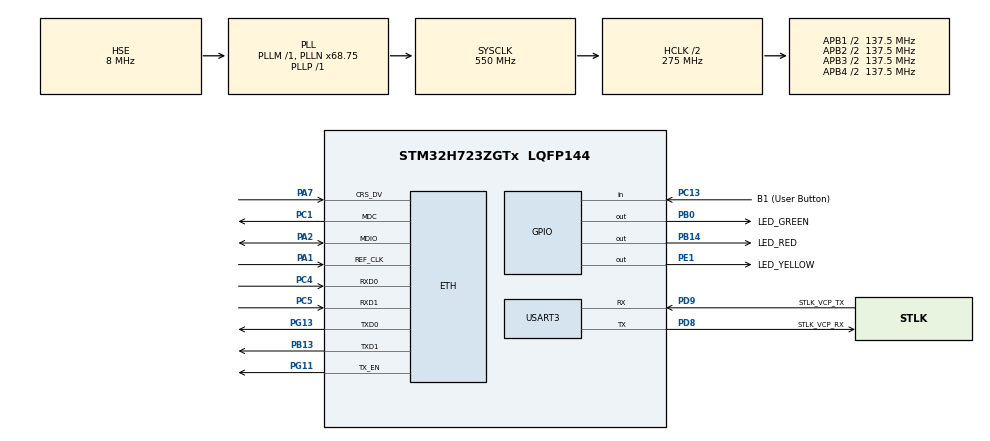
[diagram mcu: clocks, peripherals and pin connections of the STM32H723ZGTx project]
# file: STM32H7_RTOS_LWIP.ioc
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CORTEX_M7.AccessPermission_S-Cortex_Memory_Protection_Unit_Region1_Settings_S=MPU_REGION_FULL_ACCESS
CORTEX_M7.AccessPermission_S-Cortex_Memory_Protection_Unit_Region2_Settings_S=MPU_REGION_FULL_ACCESS
CORTEX_M7.BaseAddress_S-Cortex_Memory_Protection_Unit_Region1_Settings_S=0x30000000
CORTEX_M7.BaseAddress_S-Cortex_Memory_Protection_Unit_Region2_Settings_S=0x30000000 
CORTEX_M7.CPU_DCache=Enabled
CORTEX_M7.CPU_ICache=Enabled
CORTEX_M7.DisableExec_S-Cortex_Memory_Protection_Unit_Region1_Settings_S=MPU_INSTRUCTION_ACCESS_DISABLE
CORTEX_M7.DisableExec_S-Cortex_Memory_Protection_Unit_Region2_Settings_S=MPU_INSTRUCTION_ACCESS_DISABLE
CORTEX_M7.Enable_S-Cortex_Memory_Protection_Unit_Region1_Settings_S=MPU_REGION_ENABLE
CORTEX_M7.Enable_S-Cortex_Memory_Protection_Unit_Region2_Settings_S=MPU_REGION_ENABLE
CORTEX_M7.IsBufferable_S-Cortex_Memory_Protection_Unit_Region1_Settings_S=MPU_ACCESS_NOT_BUFFERABLE
CORTEX_M7.IsBufferable_S-Cortex_Memory_Protection_Unit_Region2_Settings_S=MPU_ACCESS_BUFFERABLE
CORTEX_M7.IsShareable_S-Cortex_Memory_Protection_Unit_Region1_Settings_S=MPU_ACCESS_NOT_SHAREABLE
CORTEX_M7.IsShareable_S-Cortex_Memory_Protection_Unit_Region2_Settings_S=MPU_ACCESS_SHAREABLE
CORTEX_M7.Size_S-Cortex_Memory_Protection_Unit_Region1_Settings_S=MPU_REGION_SIZE_32KB
CORTEX_M7.Size_S-Cortex_Memory_Protection_Unit_Region2_Settings_S=MPU_REGION_SIZE_512B
CORTEX_M7.TypeExtField_S-Cortex_Memory_Protection_Unit_Region1_Settings_S=MPU_TEX_LEVEL1
CORTEX_M7.TypeExtField_S-Cortex_Memory_Protection_Unit_Region2_Settings_S=MPU_TEX_LEVEL1
CORTEX_M7.default_mode_Activation=1
ETH.MediaInterface=HAL_ETH_RMII_MODE
ETH.RxBufferAddress=0x30000200
ETH.TxDescAddress=0x30000100
FREERTOS.Tasks01=defaultTask,24,512,StartDefaultTask,Default,NULL,Dynamic,NULL,NULL
FREERTOS.configCHECK_FOR_STACK_OVERFLOW=1
FREERTOS.configMINIMAL_STACK_SIZE=512
FREERTOS.configTOTAL_HEAP_SIZE=32768
FREERTOS.configUSE_NEWLIB_REENTRANT=1
LWIP.BSP.number=1
LWIP.DEFAULT_THREAD_STACKSIZE=2048
LWIP.ETH_RX_BUFFER_CNT=12
LWIP.LWIP_NETCONN=1
LWIP.LWIP_RAM_HEAP_POINTER=0x30000200
LWIP.LWIP_TCP_KEEPALIVE=1
LWIP.MEMP_NUM_LOCALHOSTLIST=0
LWIP.MEMP_NUM_NETBUF=4
LWIP.MEMP_NUM_PBUF=24
LWIP.MEMP_NUM_TCP_PCB_LISTEN=4
LWIP.MEMP_NUM_TCP_SEG=32
LWIP.MEM_SIZE=32232 
LWIP.PBUF_LINK_HLEN=16
LWIP.PBUF_POOL_BUFSIZE=1536
LWIP.PBUF_POOL_SIZE=16
LWIP.SO_REUSE=1
LWIP.TCPIP_THREAD_PRIO=32
LWIP.TCPIP_THREAD_STACKSIZE=2048
LWIP.TCP_LISTEN_BACKLOG=1
LWIP.TCP_MSS=1460
LWIP.TCP_SND_BUF=5840
LWIP.TCP_SND_QUEUELEN=16
LWIP.TCP_WND=5840
LWIP.Version=v2.1.2_Cube
LWIP0.BSP.STBoard=false
LWIP0.BSP.api=BSP_COMPONENT_DRIVER
LWIP0.BSP.component=LAN8742
LWIP0.BSP.instance=LAN8742
LWIP0.BSP.name=Driver_PHY
LWIP0.BSP.semaphore=S_LAN8742
LWIP0.BSP.solution=LAN8742
Mcu.Family=STM32H7
Mcu.Name=STM32H723ZGTx
Mcu.Package=LQFP144
NVIC.ETH_IRQn=true\:5\:0\:false\:false\:true\:true\:true\:true\:true
NVIC.PriorityGroup=NVIC_PRIORITYGROUP_4
NVIC.TIM6_DAC_IRQn=true\:15\:0\:false\:false\:true\:false\:false\:true\:true
NVIC.TimeBase=TIM6_DAC_IRQn
NVIC.TimeBaseIP=TIM6
PA1.GPIO_Speed=GPIO_SPEED_FREQ_VERY_HIGH
PA1.Mode=RMII
PA1.Signal=ETH_REF_CLK
PA13(JTMS/SWDIO).GPIO_Label=SWDIO
PA13(JTMS/SWDIO).Mode=Trace_Asynchronous_SW
PA13(JTMS/SWDIO).Signal=DEBUG_JTMS-SWDIO
PA14(JTCK/SWCLK).GPIO_Label=SWCLK
PA14(JTCK/SWCLK).Mode=Trace_Asynchronous_SW
PA14(JTCK/SWCLK).Signal=DEBUG_JTCK-SWCLK
PA2.GPIO_Speed=GPIO_SPEED_FREQ_VERY_HIGH
PA2.Mode=RMII
PA2.Signal=ETH_MDIO
PA7.GPIO_Speed=GPIO_SPEED_FREQ_VERY_HIGH
PA7.Mode=RMII
PA7.Signal=ETH_CRS_DV
PB0.GPIO_Label=LED_GREEN
PB0.Signal=GPIO_Output
PB13.GPIO_Speed=GPIO_SPEED_FREQ_VERY_HIGH
PB13.Mode=RMII
PB13.Signal=ETH_TXD1
PB14.GPIO_Label=LED_RED
PB14.Signal=GPIO_Output
PB3(JTDO/TRACESWO).Mode=Trace_Asynchronous_SW
PB3(JTDO/TRACESWO).Signal=DEBUG_JTDO-SWO
PC1.GPIO_Speed=GPIO_SPEED_FREQ_VERY_HIGH
PC1.Mode=RMII
PC1.Signal=ETH_MDC
PC13.GPIO_Label=B1 (User Button)
PC13.Signal=GPIO_Input
PC14-OSC32_IN.Mode=LSE-External-Oscillator
PC14-OSC32_IN.Signal=RCC_OSC32_IN
PC15-OSC32_OUT.Mode=LSE-External-Oscillator
PC15-OSC32_OUT.Signal=RCC_OSC32_OUT
PC4.GPIO_Speed=GPIO_SPEED_FREQ_VERY_HIGH
PC4.Mode=RMII
PC4.Signal=ETH_RXD0
PC5.GPIO_Speed=GPIO_SPEED_FREQ_VERY_HIGH
PC5.Mode=RMII
PC5.Signal=ETH_RXD1
PD8.GPIO_Label=STLK_VCP_RX
PD8.Mode=Asynchronous
PD8.Signal=USART3_TX
PD9.GPIO_Label=STLK_VCP_TX
PD9.Mode=Asynchronous
PD9.Signal=USART3_RX
PE1.GPIO_Label=LED_YELLOW
PE1.Signal=GPIO_Output
PG11.GPIO_Speed=GPIO_SPEED_FREQ_VERY_HIGH
PG11.Mode=RMII
PG11.Signal=ETH_TX_EN
PG13.GPIO_Speed=GPIO_SPEED_FREQ_VERY_HIGH
PG13.Mode=RMII
PG13.Signal=ETH_TXD0
PH0-OSC_IN.Mode=HSE-External-Clock-Source
PH0-OSC_IN.Signal=RCC_OSC_IN
ProjectManager.HeapSize=0x200
ProjectManager.StackSize=0x1000
ProjectManager.TargetToolchain=STM32CubeIDE
RCC.ADCFreq_Value=76000000
RCC.APB1Freq_Value=137500000
RCC.APB2Freq_Value=137500000
RCC.APB3Freq_Value=137500000
RCC.APB4Freq_Value=137500000
RCC.CortexFreq_Value=550000000
RCC.D1PPRE=RCC_APB3_DIV2
RCC.D2PPRE1=RCC_APB1_DIV2
RCC.D2PPRE2=RCC_APB2_DIV2
RCC.D3PPRE=RCC_APB4_DIV2
RCC.DIVM1=1
RCC.DIVM2=1
RCC.DIVN1=68
RCC.DIVN2=19
RCC.DIVP1=1
RCC.DIVQ1=4
RCC.HCLKFreq_Value=275000000
RCC.HPRE=RCC_HCLK_DIV2
RCC.HSE_VALUE=8000000
RCC.PLLFRACN=6144
RCC.PLLSourceVirtual=RCC_PLLSOURCE_HSE
RCC.SYSCLKFreq_VALUE=550000000
RCC.SYSCLKSource=RCC_SYSCLKSOURCE_PLLCLK
RCC.USBCLockSelection=RCC_USBCLKSOURCE_HSI48
RCC.USBFreq_Value=48000000
USART3.VirtualMode-Asynchronous=VM_ASYNC
VP_FREERTOS_VS_CMSIS_V2.Mode=CMSIS_V2
VP_LWIP_VS_Enabled.Mode=Enabled
VP_MEMORYMAP_VS_MEMORYMAP.Mode=CurAppReg
VP_SYS_VS_tim6.Mode=TIM6
board=NUCLEO-H723ZG

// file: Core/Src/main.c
/* USER CODE BEGIN Header */
/**
  ******************************************************************************
  * @file           : main.c
  * @brief          : Main program body
  ******************************************************************************
  * @attention
  *
  * Copyright (c) 2025 STMicroelectronics.
  * All rights reserved.
  *
  * This software is licensed under terms that can be found in the LICENSE file
  * in the root directory of this software component.
  * If no LICENSE file comes with this software, it is provided AS-IS.
  *
  ******************************************************************************
  */
/* USER CODE END Header */
#include "main.h"
#include "cmsis_os.h"
#include "lwip.h"
#include "usart.h"
#include "gpio.h"

void SystemClock_Config(void);
static void MPU_Config(void);
void MX_FREERTOS_Init(void);

int main(void)
{

  /* MPU Configuration--------------------------------------------------------*/
  MPU_Config();

  /* Enable the CPU Cache */

  /* Enable I-Cache---------------------------------------------------------*/
  SCB_EnableICache();

  /* Enable D-Cache---------------------------------------------------------*/
  SCB_EnableDCache();

  /* MCU Configuration--------------------------------------------------------*/

  /* Reset of all peripherals, Initializes the Flash interface and the Systick. */
  HAL_Init();

  /* Configure the system clock */
  SystemClock_Config();

  /* Initialize all configured peripherals */
  MX_GPIO_Init();
  MX_USART3_UART_Init();

  /* Init scheduler */
  osKernelInitialize();  /* Call init function for freertos objects (in cmsis_os2.c) */
  MX_FREERTOS_Init();

  /* Start scheduler */
  osKernelStart();

  /* We should never get here as control is now taken by the scheduler */

  /* Infinite loop */
  while (1)
  {

  }
}

void SystemClock_Config(void)
{
  RCC_OscInitTypeDef RCC_OscInitStruct = {0};
  RCC_ClkInitTypeDef RCC_ClkInitStruct = {0};

  /** Supply configuration update enable
  */
  HAL_PWREx_ConfigSupply(PWR_LDO_SUPPLY);

  /** Configure the main internal regulator output voltage
  */
  __HAL_PWR_VOLTAGESCALING_CONFIG(PWR_REGULATOR_VOLTAGE_SCALE0);

  while(!__HAL_PWR_GET_FLAG(PWR_FLAG_VOSRDY)) {}

  /** Initializes the RCC Oscillators according to the specified parameters
  * in the RCC_OscInitTypeDef structure.
  */
  RCC_OscInitStruct.OscillatorType = RCC_OSCILLATORTYPE_HSE;
  RCC_OscInitStruct.HSEState = RCC_HSE_BYPASS;
  RCC_OscInitStruct.PLL.PLLState = RCC_PLL_ON;
  RCC_OscInitStruct.PLL.PLLSource = RCC_PLLSOURCE_HSE;
  RCC_OscInitStruct.PLL.PLLM = 1;
  RCC_OscInitStruct.PLL.PLLN = 68;
  RCC_OscInitStruct.PLL.PLLP = 1;
  RCC_OscInitStruct.PLL.PLLQ = 4;
  RCC_OscInitStruct.PLL.PLLR = 2;
  RCC_OscInitStruct.PLL.PLLRGE = RCC_PLL1VCIRANGE_3;
  RCC_OscInitStruct.PLL.PLLVCOSEL = RCC_PLL1VCOWIDE;
  RCC_OscInitStruct.PLL.PLLFRACN = 6144;
  if (HAL_RCC_OscConfig(&RCC_OscInitStruct) != HAL_OK)
  {
    Error_Handler();
  }

  /** Initializes the CPU, AHB and APB buses clocks
  */
  RCC_ClkInitStruct.ClockType = RCC_CLOCKTYPE_HCLK|RCC_CLOCKTYPE_SYSCLK
                              |RCC_CLOCKTYPE_PCLK1|RCC_CLOCKTYPE_PCLK2
                              |RCC_CLOCKTYPE_D3PCLK1|RCC_CLOCKTYPE_D1PCLK1;
  RCC_ClkInitStruct.SYSCLKSource = RCC_SYSCLKSOURCE_PLLCLK;
  RCC_ClkInitStruct.SYSCLKDivider = RCC_SYSCLK_DIV1;
  RCC_ClkInitStruct.AHBCLKDivider = RCC_HCLK_DIV2;
  RCC_ClkInitStruct.APB3CLKDivider = RCC_APB3_DIV2;
  RCC_ClkInitStruct.APB1CLKDivider = RCC_APB1_DIV2;
  RCC_ClkInitStruct.APB2CLKDivider = RCC_APB2_DIV2;
  RCC_ClkInitStruct.APB4CLKDivider = RCC_APB4_DIV2;

  if (HAL_RCC_ClockConfig(&RCC_ClkInitStruct, FLASH_LATENCY_3) != HAL_OK)
  {
    Error_Handler();
  }
}

 /* MPU Configuration */

void MPU_Config(void)
{
  MPU_Region_InitTypeDef MPU_InitStruct = {0};

  /* Disables the MPU */
  HAL_MPU_Disable();

  /** Initializes and configures the Region and the memory to be protected
  */
  MPU_InitStruct.Enable = MPU_REGION_ENABLE;
  MPU_InitStruct.Number = MPU_REGION_NUMBER0;
  MPU_InitStruct.BaseAddress = 0x0;
  MPU_InitStruct.Size = MPU_REGION_SIZE_4GB;
  MPU_InitStruct.SubRegionDisable = 0x87;
  MPU_InitStruct.TypeExtField = MPU_TEX_LEVEL0;
  MPU_InitStruct.AccessPermission = MPU_REGION_NO_ACCESS;
  MPU_InitStruct.DisableExec = MPU_INSTRUCTION_ACCESS_DISABLE;
  MPU_InitStruct.IsShareable = MPU_ACCESS_SHAREABLE;
  MPU_InitStruct.IsCacheable = MPU_ACCESS_NOT_CACHEABLE;
  MPU_InitStruct.IsBufferable = MPU_ACCESS_NOT_BUFFERABLE;

  HAL_MPU_ConfigRegion(&MPU_InitStruct);

  /** Initializes and configures the Region and the memory to be protected
  */
  MPU_InitStruct.Number = MPU_REGION_NUMBER1;
  MPU_InitStruct.BaseAddress = 0x30000000;
  MPU_InitStruct.Size = MPU_REGION_SIZE_32KB;
  MPU_InitStruct.SubRegionDisable = 0x0;
  MPU_InitStruct.TypeExtField = MPU_TEX_LEVEL1;
  MPU_InitStruct.AccessPermission = MPU_REGION_FULL_ACCESS;
  MPU_InitStruct.IsShareable = MPU_ACCESS_NOT_SHAREABLE;

  HAL_MPU_ConfigRegion(&MPU_InitStruct);

  /** Initializes and configures the Region and the memory to be protected
  */
  MPU_InitStruct.Number = MPU_REGION_NUMBER2;
  MPU_InitStruct.BaseAddress = 0x30000000 ;
  MPU_InitStruct.Size = MPU_REGION_SIZE_512B;
  MPU_InitStruct.IsShareable = MPU_ACCESS_SHAREABLE;
  MPU_InitStruct.IsBufferable = MPU_ACCESS_BUFFERABLE;

  HAL_MPU_ConfigRegion(&MPU_InitStruct);
  /* Enables the MPU */
  HAL_MPU_Enable(MPU_PRIVILEGED_DEFAULT);

}

void HAL_TIM_PeriodElapsedCallback(TIM_HandleTypeDef *htim)
{
  if (htim->Instance == TIM6)
  {
    HAL_IncTick();
  }
}

void Error_Handler(void)
{
  __disable_irq();
  while (1)
  {
  }
}

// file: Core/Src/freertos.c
/* USER CODE BEGIN Header */
/**
 ******************************************************************************
 * File Name          : freertos.c
 * Description        : Code for freertos applications
 ******************************************************************************
 * @attention
 *
 * Copyright (c) 2025 STMicroelectronics.
 * All rights reserved.
 *
 * This software is licensed under terms that can be found in the LICENSE file
 * in the root directory of this software component.
 * If no LICENSE file comes with this software, it is provided AS-IS.
 *
 ******************************************************************************
 */
/* USER CODE END Header */

#include "FreeRTOS.h"
#include "task.h"
#include "main.h"
#include "cmsis_os.h"

/* USER CODE BEGIN Includes */
#include "lwip/sockets.h"
#include "lwip/sys.h"
#include "lwip/netdb.h"
/* USER CODE END Includes */

/* USER CODE BEGIN PD */
#define ECHO_SERVER_PORT    7
#define RECV_BUF_SIZE       1024
#define MAX_CLIENT_CONNECTIONS 3
/* USER CODE END PD */

/* Definitions for defaultTask */
osThreadId_t defaultTaskHandle;
const osThreadAttr_t defaultTask_attributes = {
  .name = "defaultTask",
  .stack_size = 512 * 4,
  .priority = (osPriority_t) osPriorityNormal,
};

/* USER CODE BEGIN FunctionPrototypes */
osThreadId_t netTaskHandle;
const osThreadAttr_t netTask_attributes =
{ .name = "netTask", .stack_size = 512 * 4, .priority = (osPriority_t) osPriorityNormal, };

void StartNetTask(void *argument)
{
  int server_sock;
  struct sockaddr_in server_addr, client_addr;
  socklen_t client_addr_len;
  char recv_buf[RECV_BUF_SIZE];
  const int on = 1;

  fd_set read_fds;
  int max_sd;
  int client_sockets[MAX_CLIENT_CONNECTIONS]; // 클라이언트 소켓 저장 배열
  int i, sd;

  // 클라이언트 소켓 배열 초기화
  for(i = 0;i < MAX_CLIENT_CONNECTIONS;i++)
  {
    client_sockets[i] = 0;
  }

  // 1. 서버 소켓 생성
  server_sock = lwip_socket(AF_INET, SOCK_STREAM, 0);
  if(server_sock < 0)
  {
    vTaskDelete(NULL);
    return;
  }

  // SO_REUSEADDR 설정
  if(lwip_setsockopt(server_sock, SOL_SOCKET, SO_REUSEADDR, &on, sizeof(on)) < 0)
  {
    lwip_close(server_sock);
    vTaskDelete(NULL);
    return;
  }

  // 2. 서버 주소 설정 및 바인딩
  memset(&server_addr, 0, sizeof(server_addr));
  server_addr.sin_family = AF_INET;
  server_addr.sin_port = lwip_htons(ECHO_SERVER_PORT);
  server_addr.sin_addr.s_addr = lwip_htonl(INADDR_ANY);

  if(lwip_bind(server_sock, (struct sockaddr*) &server_addr, sizeof(server_addr)) < 0)
  {
    lwip_close(server_sock);
    vTaskDelete(NULL);
    return;
  }

  // 3. 연결 대기 (Listen)
  if(lwip_listen(server_sock, 5) < 0)
  {
    lwip_close(server_sock);
    vTaskDelete(NULL);
    return;
  }

  // 메인 select 루프
  while(1)
  {
    FD_ZERO(&read_fds);

    FD_SET(server_sock, &read_fds);
    max_sd = server_sock;

    for(i = 0;i < MAX_CLIENT_CONNECTIONS;i++)
    {
      sd = client_sockets[i];
      if(sd > 0)
      {
        FD_SET(sd, &read_fds);
      }

      if(sd > max_sd)
      {
        max_sd = sd;
      }
    }

    // select 호출: 이벤트 발생 대기 (NULL, NULL)은 타임아웃 없음.
    int activity = lwip_select(max_sd + 1, &read_fds, NULL, NULL, NULL);

    if((activity < 0) && (errno != EINTR))
    {
      // printf("select error: %d\r\n", errno);
      vTaskDelay(pdMS_TO_TICKS(100)); // 짧은 딜레이 후 재시도
      continue;
    }

    // 4. 서버 소켓에 새로운 연결 요청이 왔는지 확인
    if(FD_ISSET(server_sock, &read_fds))
    {
      client_addr_len = sizeof(client_addr);
      int new_sock = lwip_accept(server_sock, (struct sockaddr*) &client_addr, &client_addr_len);
      if(new_sock < 0)
      {
        // printf("accept error: %d\r\n", new_sock);
      }
      else
      {
        // 새 클라이언트 연결 수락
        // printf("New connection, socket fd is %d\r\n", new_sock);
        // char *ip_str = ip4addr_ntoa((const ip4_addr_t*)&client_addr.sin_addr);
        // if (ip_str != NULL) {
        //     printf("Client connected from %s:%d\r\n", ip_str, lwip_ntohs(client_addr.sin_port));
        // }

        for(i = 0;i < MAX_CLIENT_CONNECTIONS;i++)
        {
          if(client_sockets[i] == 0)
          {
            client_sockets[i] = new_sock;
            break;
          }
        }
        if(i == MAX_CLIENT_CONNECTIONS)
        {
          // printf("Max clients reached, closing new connection\r\n");
          lwip_close(new_sock);
        }
      }
    }

    // 5. 각 클라이언트 소켓에서 데이터가 왔는지 확인
    for(i = 0;i < MAX_CLIENT_CONNECTIONS;i++)
    {
      sd = client_sockets[i];

      if(sd > 0 && FD_ISSET(sd, &read_fds))
      {
        int recv_len = lwip_recv(sd, recv_buf, RECV_BUF_SIZE, 0);

        if(recv_len == 0)
        {
          // 클라이언트 연결 종료
          // printf("Host disconnected, fd %d\r\n", sd);
          lwip_close(sd);
          client_sockets[i] = 0; // 해당 슬롯 비움
        }
        else if(recv_len < 0)
        {
          // 에러 발생 (수신 에러)
          // printf("Receive error on fd %d: %d\r\n", sd, recv_len);
          lwip_close(sd);
          client_sockets[i] = 0; // 해당 슬롯 비움
        }
        else
        {
          // 데이터 수신 성공, 에코 처리
          lwip_send(sd, recv_buf, recv_len, 0);
        }
      }
    }
  }

  // 이 코드는 일반적으로 도달하지 않음
  lwip_close(server_sock);
  vTaskDelete(NULL);
}
/* USER CODE END FunctionPrototypes */

void StartDefaultTask(void *argument);

extern void MX_LWIP_Init(void);
void MX_FREERTOS_Init(void); /* (MISRA C 2004 rule 8.1) */

/* Hook prototypes */
void vApplicationStackOverflowHook(xTaskHandle xTask, signed char *pcTaskName);

/* USER CODE BEGIN 4 */
void vApplicationStackOverflowHook(xTaskHandle xTask, signed char *pcTaskName)
{
  /* Run time stack overflow checking is performed if
   configCHECK_FOR_STACK_OVERFLOW is defined to 1 or 2. This hook function is
   called if a stack overflow is detected. */

  // 스택 오버플로우가 감지되면 시스템의 안정성을 위해 인터럽트를 비활성화합니다.
  taskDISABLE_INTERRUPTS();

  // printf("Stack overflow detected in task: %s\r\n", pcTaskName);

  for( ;; )
  {
    HAL_GPIO_WritePin(LED_GREEN_GPIO_Port, LED_GREEN_Pin, GPIO_PIN_SET);
    HAL_GPIO_WritePin(LED_YELLOW_GPIO_Port, LED_YELLOW_Pin, GPIO_PIN_SET);
    HAL_GPIO_WritePin(LED_RED_GPIO_Port, LED_RED_Pin, GPIO_PIN_SET);
  }

}
/* USER CODE END 4 */

void MX_FREERTOS_Init(void) {

  /* Create the thread(s) */
  /* creation of defaultTask */
  defaultTaskHandle = osThreadNew(StartDefaultTask, NULL, &defaultTask_attributes);

}

void StartDefaultTask(void *argument)
{
  /* init code for LWIP */
  MX_LWIP_Init();
  /* USER CODE BEGIN StartDefaultTask */
  netTaskHandle = osThreadNew(StartNetTask, NULL, &netTask_attributes);
  /* Infinite loop */
  for(;;)
  {
    HAL_GPIO_TogglePin(LED_GREEN_GPIO_Port, LED_GREEN_Pin);
    osDelay(500);
  }
  /* USER CODE END StartDefaultTask */
}
